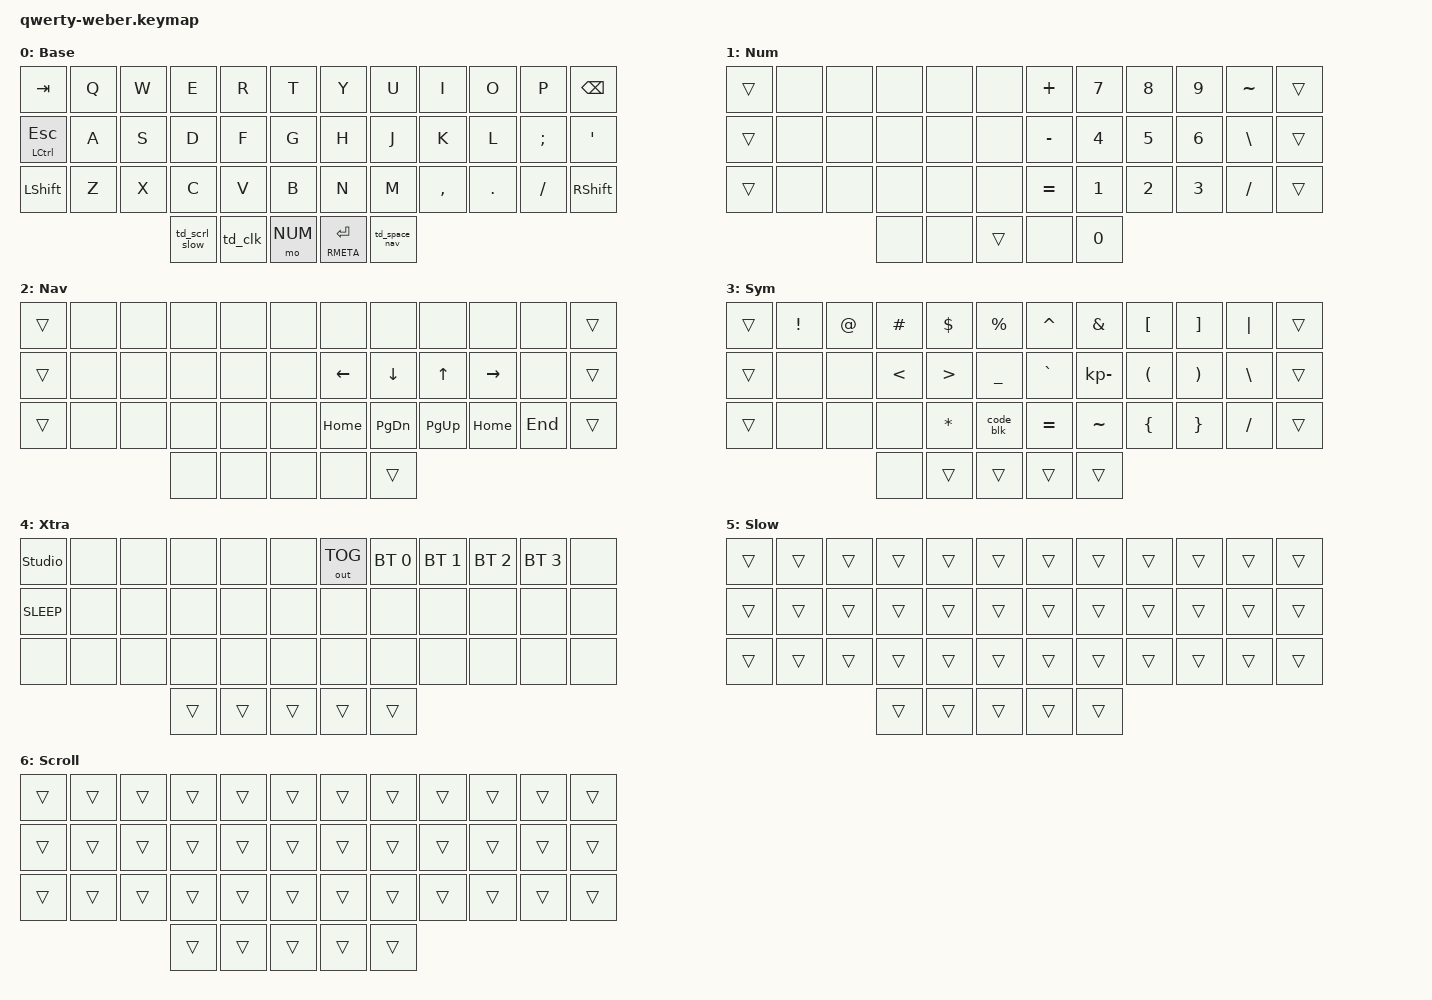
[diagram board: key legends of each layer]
/* upstream bindings and behaviors */
#include <behaviors.dtsi>
#include <dt-bindings/zmk/bt.h>
#include <dt-bindings/zmk/keys.h>
#include <dt-bindings/zmk/mouse.h>
#include <dt-bindings/zmk/outputs.h>
#include <behaviors/mouse_keys.dtsi>
#include <dt-bindings/zmk/ext_power.h>

/* local overlays */
#include "keymap_features/macros.dtsi"
#include "keymap_features/behaviors.dtsi"
#include "keymap_features/combos.dtsi"

/ {
/* --- KEYMAP CONFIG --- */
// ╭──────┬──────┬──────┬──────┬──────┬──────╮  ╭──────┬──────┬──────┬──────┬──────┬──────╮
//    00     01     02     03    04      05        06     07     08     09     10     11
// ├──────┼──────┼──────┼──────┼──────┼──────┤  ├──────┼──────┼──────┼──────┼──────┼──────┤
//    12     13     14     15    16      17        18     19     20     21     22     23
// ├──────┼──────┼──────┼──────┼──────┼──────┤  ├──────┼──────┼──────┼──────┼──────┼──────┤
//    24     25     26     27    28      29        30     31     32     33     34     35
// ╰──────┴──────┴──────┼──────┼──────┼──────┤  ├──────┼──────┼──────┴──────┴──────┴──────╯
//                         36     37     38        39     40
//                      ╰──────┴──────┴──────╯  ╰──────┴──────╯
#define BASE    0
#define NUM     1
#define NAV     2
#define SYM     3
#define EXTRAS  4
#define SLOW    5
#define SCROLL  6

    keymap {
        compatible = "zmk,keymap";
        BASE {
            display-name = "Base";
            bindings = <
// ╭───────────────┬────────────────┬────────────────┬─────────────────┬─────────────────┬──────╮  ╭──────┬──────────────────┬──────────────────┬─────────────────┬─────────────────┬─────────────╮
    &kp TAB          &kp Q            &kp W            &kp E             &kp R             &kp T    &kp Y   &kp U              &kp I              &kp O             &kp P             &kp BACKSPACE
// ├───────────────┼────────────────┼────────────────┼─────────────────┼─────────────────┼──────┤  ├──────┼──────────────────┼──────────────────┼─────────────────┼─────────────────┼─────────────┤
    &mt LCTRL ESC    &kp A            &kp S            &kp D             &kp F             &kp G    &kp H   &kp J              &kp K              &kp L             &kp SEMICOLON     &kp SQT
// ├───────────────┼────────────────┼────────────────┼─────────────────┼─────────────────┼──────┤  ├──────┼──────────────────┼──────────────────┼─────────────────┼─────────────────┼─────────────┤
    &kp LSHIFT       &kp Z            &kp X            &kp C             &kp V             &kp B    &kp N   &kp M              &kp COMMA          &kp PERIOD        &kp FSLH          &kp RSHIFT
// ╰───────────────┴────────────────┴────────────────┼─────────────────┼─────────────────┼──────┤  ├──────┼──────────────────┼──────────────────┴─────────────────┴─────────────────┴─────────────╯
                                                             &td_scrl_slow       &td_clk  &mo NUM   &mt RMETA ENTER  &td_space_nav
                                                         // ╰──────────────────┴─────────┴──────╯  ╰────────────────┴──────────────╯
            >;
        };

        NUM {
            display-name = "Num";
            bindings = <
// ╭───────────────┬────────────────┬────────────────┬─────────────────┬─────────────────┬──────╮  ╭──────────┬──────────────────┬──────────────────┬─────────────────┬─────────────────┬─────────────╮
    &trans          &none            &none            &none             &none             &none     &kp PLUS   &kp N7             &kp N8             &kp N9             &kp TILDE        &trans
// ├───────────────┼────────────────┼────────────────┼─────────────────┼─────────────────┼──────┤  ├──────────┼──────────────────┼──────────────────┼─────────────────┼─────────────────┼─────────────┤
    &trans          &none            &none            &none             &none             &none     &kp MINUS  &kp N4             &kp N5             &kp N6             &kp BACKSLASH    &trans
// ├───────────────┼────────────────┼────────────────┼─────────────────┼─────────────────┼──────┤  ├──────────┼──────────────────┼──────────────────┼─────────────────┼─────────────────┼─────────────┤
    &trans          &none            &none            &none             &none             &none     &kp EQUAL  &kp N1             &kp N2             &kp N3             &kp SLASH        &trans
// ╰───────────────┴────────────────┴────────────────┼─────────────────┼─────────────────┼──────┤  ├──────────┼──────────────────┼──────────────────┴─────────────────┴─────────────────┴─────────────╯
                                                                          &none   &none   &trans    &none      &kp N0
                                                                      // ╰───────┴───────┴──────╯  ╰──────────┴──────────╯
            >;
        };

        NAV {
            display-name = "Nav";
            bindings = <
// ╭───────────────┬────────────────┬────────────────┬─────────────────┬─────────────────┬──────╮  ╭──────────┬──────────────────┬──────────────────┬─────────────────┬─────────────────┬─────────────╮
    &trans          &none            &none            &none             &none             &none     &none      &none              &none              &none             &none             &trans
// ├───────────────┼────────────────┼────────────────┼─────────────────┼─────────────────┼──────┤  ├──────────┼──────────────────┼──────────────────┼─────────────────┼─────────────────┼─────────────┤
    &trans          &none            &none            &none             &none             &none     &kp LEFT   &kp DOWN           &kp UP             &kp RIGHT         &none             &trans
// ├───────────────┼────────────────┼────────────────┼─────────────────┼─────────────────┼──────┤  ├──────────┼──────────────────┼──────────────────┼─────────────────┼─────────────────┼─────────────┤
    &trans          &none            &none            &none             &none             &none     &kp HOME   &kp PG_DN          &kp PG_UP          &kp HOME          &kp END           &trans
// ╰───────────────┴────────────────┴────────────────┼─────────────────┼─────────────────┼──────┤  ├──────────┼──────────────────┼──────────────────┴─────────────────┴─────────────────┴─────────────╯
                                                                          &none   &none   &none     &none      &trans
                                                                      // ╰───────┴───────┴──────╯  ╰──────────┴──────────╯
            >;
        };

        SYM {
            display-name = "Sym";
            bindings = <
// ╭───────────────┬────────────────┬────────────────┬─────────────────┬─────────────────┬──────────╮  ╭──────────┬──────────────────┬──────────────────┬─────────────────┬─────────────────┬─────────────╮
    &trans          &kp EXCLAMATION  &kp AT           &kp HASH          &kp DOLLAR        &kp PERCENT   &kp CARET  &kp AMPS           &kp LBKT           &kp RBKT          &kp PIPE          &trans
// ├───────────────┼────────────────┼────────────────┼─────────────────┼─────────────────┼──────────┤  ├──────────┼──────────────────┼──────────────────┼─────────────────┼─────────────────┼─────────────┤
    &trans          &none            &none            &kp LT            &kp GT            &kp UNDER     &kp GRAVE  &kp KP_MINUS       &kp LPAR           &kp RPAR          &kp BSLH          &trans
// ├───────────────┼────────────────┼────────────────┼─────────────────┼─────────────────┼──────────┤  ├──────────┼──────────────────┼──────────────────┼─────────────────┼─────────────────┼─────────────┤
    &trans          &none            &none            &none             &kp ASTRK         &code_blk     &kp EQUAL  &kp TILDE          &kp LBRC           &kp RBRC          &kp SLASH         &trans
// ╰───────────────┴────────────────┴────────────────┼─────────────────┼─────────────────┼──────────┤  ├──────────┼──────────────────┼──────────────────┴─────────────────┴─────────────────┴─────────────╯
                                                                              &none   &trans  &trans    &trans     &trans
                                                                          // ╰───────┴───────┴──────╯  ╰──────────┴──────────╯
            >;
        };

        EXTRAS {
            display-name = "Xtra";
            bindings = <
// ╭───────────────┬────────────────┬────────────────┬─────────────────┬─────────────────┬──────────╮  ╭────────────┬──────────────────┬──────────────────┬─────────────────┬─────────────────┬─────────────╮
    &studio_unlock  &none            &none            &none             &none             &none          &out OUT_TOG &bt BT_SEL 0       &bt BT_SEL 1       &bt BT_SEL 2      &bt BT_SEL 3      &none
// ├───────────────┼────────────────┼────────────────┼─────────────────┼─────────────────┼──────────┤  ├────────────┼──────────────────┼──────────────────┼─────────────────┼─────────────────┼─────────────┤
    &kp C_SLEEP     &none            &none            &none              &none            &none          &none        &none              &none              &none             &none             &none
// ├───────────────┼────────────────┼────────────────┼─────────────────┼─────────────────┼──────────┤  ├────────────┼──────────────────┼──────────────────┼─────────────────┼─────────────────┼─────────────┤
    &none           &none            &none            &none              &none            &none          &none        &none              &none              &none             &none             &none
// ╰───────────────┴────────────────┴────────────────┼─────────────────┼─────────────────┼──────────┤  ├────────────┼──────────────────┼──────────────────┴─────────────────┴─────────────────┴─────────────╯
                                                                              &trans  &trans  &trans    &trans        &trans
                                                                          // ╰───────┴───────┴──────╯  ╰────────────┴──────────╯
            >;
        };

        SLOW {
            display-name = "Slow";
            bindings = <
// ╭────────┬────────┬────────┬────────┬────────┬────────╮  ╭────────┬────────┬────────┬────────┬────────┬────────╮
    &trans    &trans   &trans   &trans   &trans   &trans      &trans   &trans   &trans   &trans   &trans   &trans
// ├────────┼────────┼────────┼────────┼────────┼────────┤  ├────────┼────────┼────────┼────────┼────────┼────────┤
    &trans    &trans   &trans   &trans   &trans   &trans      &trans   &trans   &trans   &trans   &trans   &trans
// ├────────┼────────┼────────┼────────┼────────┼────────┤  ├────────┼────────┼────────┼────────┼────────┼────────┤
    &trans    &trans   &trans   &trans   &trans   &trans      &trans   &trans   &trans   &trans   &trans   &trans
// ╰────────┴────────┴────────┼────────┼────────┼────────┤  ├────────┼────────┼────────┴────────┴────────┴────────╯
                                  &trans   &trans   &trans      &trans   &trans
                             // ╰────────┴────────┴────────╯  ╰────────┴────────╯
            >;
        };

        SCROLL {
            display-name = "Scroll";
            bindings = <
// ╭────────┬────────┬────────┬────────┬────────┬────────╮  ╭────────┬────────┬────────┬────────┬────────┬────────╮
    &trans    &trans   &trans   &trans   &trans   &trans      &trans   &trans   &trans   &trans   &trans   &trans
// ├────────┼────────┼────────┼────────┼────────┼────────┤  ├────────┼────────┼────────┼────────┼────────┼────────┤
    &trans    &trans   &trans   &trans   &trans   &trans      &trans   &trans   &trans   &trans   &trans   &trans
// ├────────┼────────┼────────┼────────┼────────┼────────┤  ├────────┼────────┼────────┼────────┼────────┼────────┤
    &trans    &trans   &trans   &trans   &trans   &trans      &trans   &trans   &trans   &trans   &trans   &trans
// ╰────────┴────────┴────────┼────────┼────────┼────────┤  ├────────┼────────┼────────┴────────┴────────┴────────╯
                                  &trans   &trans   &trans      &trans   &trans
                             // ╰────────┴────────┴────────╯  ╰────────┴────────╯
            >;
        };
    };
};
